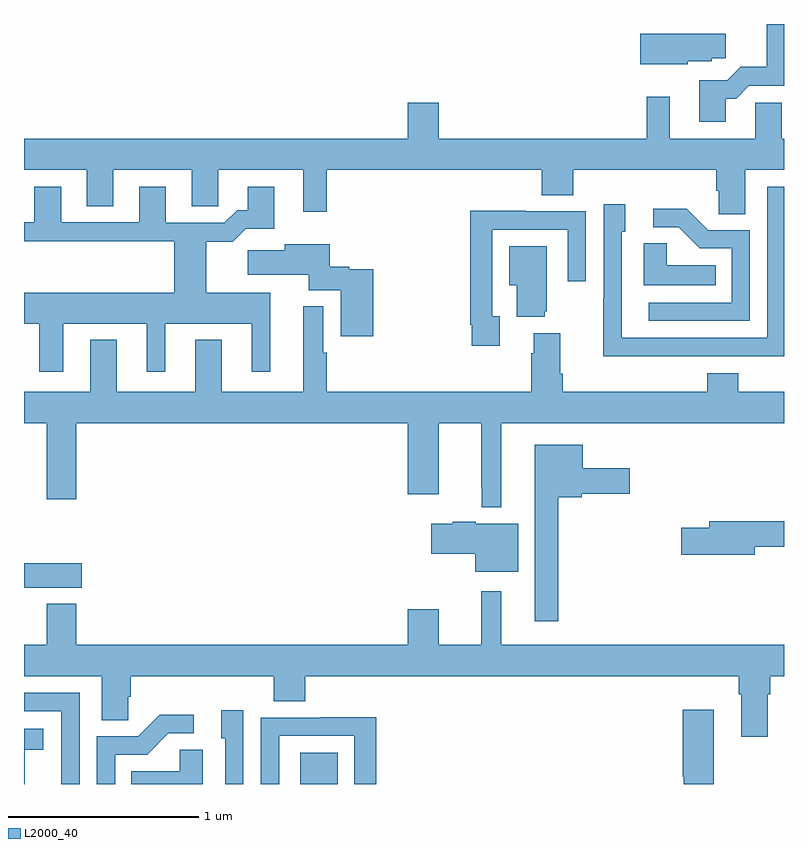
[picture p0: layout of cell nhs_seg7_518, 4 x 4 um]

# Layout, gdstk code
import gdstk
lib = gdstk.Library(unit=1e-6, precision=1e-09)
def R(c, l, rs):  # rectangles x0, y0, x1, y1
    for r in rs: c.add(gdstk.rectangle(r[:2], r[2:], *l))
def P(c, l, *ps):  # polygons
    for p in ps: c.add(gdstk.Polygon(p, *l))
L2000_40 = (2000, 40)

nhs_seg7_518 = lib.new_cell('nhs_seg7_518')
R(nhs_seg7_518, L2000_40, [(152.453,1048,152.65,1048.165), (151,1049.033,151.303,1049.163)])
P(nhs_seg7_518, L2000_40, [(154.693,1051.607),(154.748,1051.607),(154.815,1051.674),(155,1051.674),(155,1052),(154.91,1052),(154.91,1051.775),(154.772,1051.775),(154.701,1051.704),(154.553,1051.704),(154.553,1051.485),(154.693,1051.485)],
  [(154.494,1051.805),(154.62,1051.805),(154.62,1051.819),(154.693,1051.819),(154.693,1051.948),(154.244,1051.948),(154.244,1051.787),(154.494,1051.787)],
  [(154.795,1051.232),(155,1051.232),(155,1051.396),(154.987,1051.396),(154.987,1051.586),(154.848,1051.586),(154.848,1051.396),(154.399,1051.396),(154.399,1051.618),(154.278,1051.618),(154.278,1051.396),(153.184,1051.396),(153.184,1051.585),(153.02,1051.585),(153.02,1051.396),(151,1051.396),(151,1051.232),(151.331,1051.232),(151.331,1051.042),(151.471,1051.042),(151.471,1051.232),(151.883,1051.232),(151.883,1051.042),(152.022,1051.042),(152.022,1051.232),(152.471,1051.232),(152.471,1051.011),(152.593,1051.011),(152.593,1051.232),(153.725,1051.232),(153.725,1051.099),(153.89,1051.099),(153.89,1051.232),(154.643,1051.232),(154.643,1051.123),(154.656,1051.123),(154.656,1051),(154.795,1051)],
  [(151.207,1050.422),(151.646,1050.422),(151.646,1050.171),(151.744,1050.171),(151.744,1050.422),(152.198,1050.422),(152.198,1050.171),(152.296,1050.171),(152.296,1050.586),(151.96,1050.586),(151.96,1050.854),(152.099,1050.854),(152.168,1050.923),(152.317,1050.923),(152.317,1051.144),(152.177,1051.144),(152.177,1051.021),(152.122,1051.021),(152.055,1050.954),(151.747,1050.954),(151.747,1051.144),(151.607,1051.144),(151.607,1050.957),(151.195,1050.957),(151.195,1051.144),(151.055,1051.144),(151.055,1050.957),(151,1050.957),(151,1050.856),(151.79,1050.856),(151.79,1050.586),(151,1050.586),(151,1050.422),(151.079,1050.422),(151.079,1050.171),(151.207,1050.171)],
  [(154.511,1050.252),(155,1050.252),(155,1051.143),(154.911,1051.143),(154.911,1050.348),(154.146,1050.348),(154.146,1050.906),(154.165,1050.906),(154.165,1051.051),(154.05,1051.051),(154.05,1050.557),(154.048,1050.557),(154.048,1050.251),(154.511,1050.251)],
  [(154.821,1050.915),(154.602,1050.915),(154.489,1051.028),(154.311,1051.028),(154.311,1050.93),(154.445,1050.93),(154.556,1050.819),(154.725,1050.819),(154.725,1050.534),(154.287,1050.534),(154.287,1050.438),(154.821,1050.438)],
  [(153.505,1050.462),(153.465,1050.462),(153.465,1050.918),(153.861,1050.918),(153.861,1050.645),(153.957,1050.645),(153.957,1051.014),(153.641,1051.014),(153.641,1051.016),(153.349,1051.016),(153.349,1050.418),(153.357,1050.418),(153.357,1050.306),(153.505,1050.306)],
  [(154.64,1050.73),(154.383,1050.73),(154.383,1050.845),(154.262,1050.845),(154.262,1050.626),(154.64,1050.626)],
  [(152.837,1050.709),(152.712,1050.709),(152.712,1050.722),(152.608,1050.722),(152.608,1050.841),(152.372,1050.841),(152.372,1050.809),(152.178,1050.809),(152.178,1050.68),(152.498,1050.68),(152.498,1050.599),(152.666,1050.599),(152.666,1050.357),(152.837,1050.357)],
  [(153.74,1050.489),(153.751,1050.489),(153.751,1050.829),(153.554,1050.829),(153.554,1050.626),(153.593,1050.626),(153.593,1050.458),(153.74,1050.458)],
  [(153.511,1049.9),(155,1049.9),(155,1050.064),(154.76,1050.064),(154.76,1050.163),(154.595,1050.163),(154.595,1050.064),(153.836,1050.064),(153.836,1050.16),(153.823,1050.16),(153.823,1050.373),(153.683,1050.373),(153.683,1050.266),(153.671,1050.266),(153.671,1050.064),(152.593,1050.064),(152.593,1050.269),(152.575,1050.269),(152.575,1050.514),(152.471,1050.514),(152.471,1050.064),(152.041,1050.064),(152.041,1050.337),(151.901,1050.337),(151.901,1050.064),(151.489,1050.064),(151.489,1050.337),(151.349,1050.337),(151.349,1050.064),(151,1050.064),(151,1049.9),(151.121,1049.9),(151.121,1049.499),(151.274,1049.499),(151.274,1049.9),(153.02,1049.9),(153.02,1049.526),(153.184,1049.526),(153.184,1049.9),(153.407,1049.9),(153.407,1049.563),(153.408,1049.563),(153.408,1049.456),(153.511,1049.456)],
  [(153.811,1049.51),(153.936,1049.51),(153.936,1049.528),(154.189,1049.528),(154.189,1049.662),(153.94,1049.662),(153.94,1049.785),(153.689,1049.785),(153.689,1048.857),(153.811,1048.857)],
  [(154.846,1049.248),(155,1049.248),(155,1049.384),(154.607,1049.384),(154.607,1049.348),(154.458,1049.348),(154.458,1049.206),(154.846,1049.206)],
  [(153.601,1049.371),(153.378,1049.371),(153.378,1049.381),(153.256,1049.381),(153.256,1049.371),(153.144,1049.371),(153.144,1049.213),(153.374,1049.213),(153.374,1049.117),(153.601,1049.117)],
  [(154.915,1048.472),(154.928,1048.472),(154.928,1048.568),(155,1048.568),(155,1048.732),(153.511,1048.732),(153.511,1049.014),(153.407,1049.014),(153.407,1048.732),(153.184,1048.732),(153.184,1048.921),(153.02,1048.921),(153.02,1048.732),(151.274,1048.732),(151.274,1048.948),(151.121,1048.948),(151.121,1048.732),(151,1048.732),(151,1048.568),(151.409,1048.568),(151.409,1048.336),(151.548,1048.336),(151.548,1048.459),(151.562,1048.459),(151.562,1048.568),(152.315,1048.568),(152.315,1048.435),(152.48,1048.435),(152.48,1048.568),(154.763,1048.568),(154.763,1048.472),(154.775,1048.472),(154.775,1048.248),(154.915,1048.248)],
  [(151.293,1048.479),(151,1048.479),(151,1048.383),(151.197,1048.383),(151.197,1048),(151.293,1048)],
  [(154.63,1048.39),(154.466,1048.39),(154.466,1048.038),(154.472,1048.038),(154.472,1048),(154.63,1048)],
  [(152.154,1048.387),(152.039,1048.387),(152.039,1048.242),(152.058,1048.242),(152.058,1048),(152.154,1048)],
  [(151.479,1048.155),(151.648,1048.155),(151.759,1048.266),(151.894,1048.266),(151.894,1048.364),(151.715,1048.364),(151.602,1048.251),(151.383,1048.251),(151.383,1048),(151.479,1048)],
  [(152.343,1048.254),(152.739,1048.254),(152.739,1048),(152.855,1048),(152.855,1048.352),(152.563,1048.352),(152.563,1048.35),(152.247,1048.35),(152.247,1048),(152.343,1048)],
  [(151.004,1048.181),(151.102,1048.181),(151.102,1048.291),(151,1048.291),(151,1048),(151.004,1048)],
  [(151.942,1048.181),(151.821,1048.181),(151.821,1048.066),(151.564,1048.066),(151.564,1048),(151.942,1048)])

lib.write_gds('nhs_seg7_518.gds')
